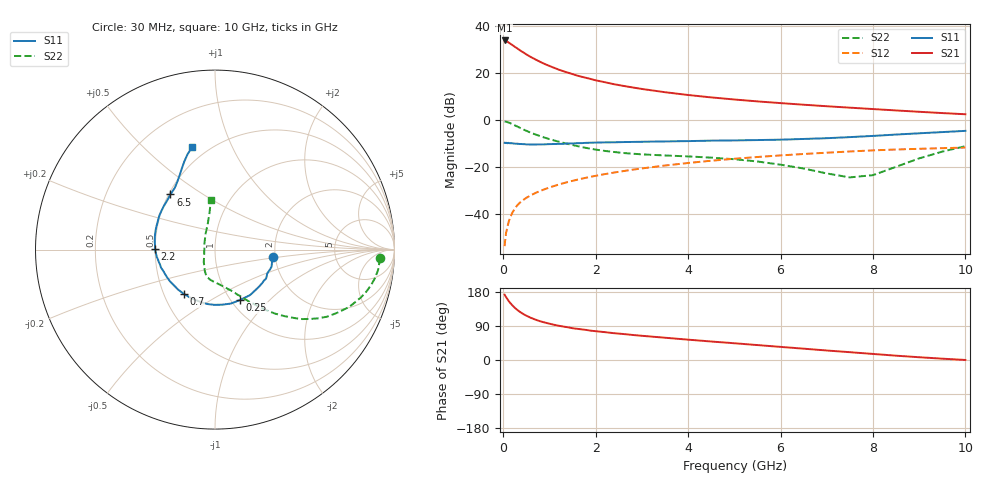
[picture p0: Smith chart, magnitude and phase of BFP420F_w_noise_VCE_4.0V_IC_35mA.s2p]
! Infineon Technologies  Discrete & RF Semiconductors
! BFP420F
! VCE =  4.0 V,  IC =  35 mA
! Common Emitter S-Parameters:  Sep 2011
# GHz  S  MA  R  50
!  f  S11  S21  S12  S22
! GHz  MAG  ANG  MAG  ANG  MAG  ANG  MAG  ANG
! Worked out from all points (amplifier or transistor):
!   54 points, 30 MHz to 10 GHz, reference 50 ohm
!   highest |S21| = 33.7 dB at 30 MHz (marker M1)
!   |S21| within 3 dB of that: start of sweep to 274.6 MHz
!   unconditionally stable (mu >= 1): 1.47 GHz to end of sweep
!   at 120 MHz: K = 0.44, MSG = 38.0 dB, |S12| = -43.1 dB
!   at 1.3 GHz: K = 0.97, MSG = 23.8 dB, |S12| = -26.9 dB
!   at 10 GHz: K = 1.22, MAG = 4.2 dB, |S12| = -11.7 dB
!   lowest NFmin = 1.93 dB at 450 MHz
!   S11 on the Smith chart (normalised r, x): 30 MHz: 1.95, -0.18; 250 MHz: 1.10, -0.69; 700 MHz: 0.63, -0.34; 2.2 GHz: 0.50, +0.01; 6.5 GHz: 0.51, +0.37; 10 GHz: 0.41, +0.72
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0.03  0.3273 -7.1  48.53 172.4  0.0021 69.9  0.9181 -2.9
0.05  0.3251 -12.3  47.4 168.1  0.003 75.7  0.9173 -5.8
0.08  0.3235 -21.1  45.95 162.6  0.0048 77.2  0.9059 -10.0
0.12  0.3224 -32.6  43.78 155.3  0.007 76.1  0.879 -14.9
0.15  0.3204 -40.7  41.72 150.7  0.0085 75.3  0.8552 -18.2
0.2  0.3201 -52.4  38.61 144.0  0.0109 73.6  0.8134 -23.1
0.25  0.3135 -63.5  35.61 137.9  0.0131 72.5  0.7693 -27.1
0.35  0.3095 -82.7  30.61 128.0  0.0172 69.7  0.6888 -33.8
0.45  0.3063 -97.9  26.45 120.2  0.0206 68.1  0.6204 -38.6
0.6  0.3018 -115.8  21.52 111.2  0.0253 67.1  0.534 -43.9
0.7  0.3018 -125.0  19.12 106.4  0.0283 66.8  0.4909 -46.7
0.9  0.3035 -139.3  15.33 98.9  0.034 66.5  0.4199 -51.1
1.1  0.3085 -149.9  12.77 92.9  0.0397 66.5  0.3669 -54.9
1.3  0.312 -158.0  10.81 88.3  0.0454 66.4  0.327 -58.3
1.7  0.3226 -170.2  8.228 80.8  0.0567 65.6  0.2658 -65.2
2.2  0.3347 179.1  6.313 73.5  0.0709 64.2  0.2201 -74.4
3.5  0.3501 159.8  3.875 58.8  0.1079 58.1  0.1762 -94.3
5.5  0.3741 139.8  2.474 39.4  0.1637 46.1  0.1315 -115.7
6.5  0.395 128.9  2.104 29.9  0.1895 39.6  0.0933 -132.2
7  0.4098 123.2  1.952 25.1  0.2018 36.2  0.0733 -146.1
8.5  0.4898 112.1  1.59 11.4  0.2358 25.5  0.1015 121.2
10  0.5868 102.4  1.32 0.1  0.2595 16.0  0.2773 94.9
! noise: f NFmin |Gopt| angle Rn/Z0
0.45  1.93  0.32  -175  0.1
0.9  1.94  0.34  -172  0.13
1.9  2.07  0.39  -162  0.12
2.4  2.14  0.38  -155  0.13
3.5  2.39  0.37  -143  0.19
